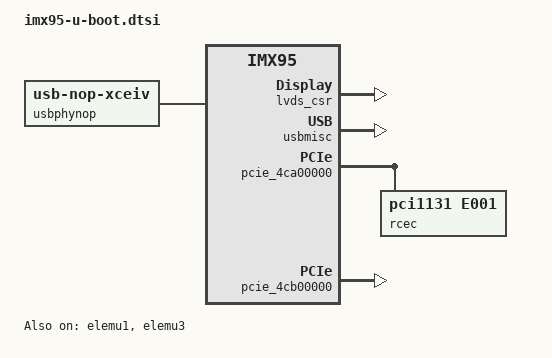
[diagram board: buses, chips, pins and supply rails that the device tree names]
// SPDX-License-Identifier: GPL-2.0+
/*
 * Copyright 2025 NXP
 */

 #include <dt-bindings/clock/nxp,imx95-clock.h>

#ifdef CONFIG_OPTEE
&{/firmware} {
	optee {
		compatible = "linaro,optee-tz";
		method = "smc";
	};
};
#endif

/ {
	binman {
		multiple-images;

		m33-oei-ddrfw {
			pad-byte = <0x00>;
			align-size = <0x8>;
			filename = "m33-oei-ddrfw.bin";

			oei-m33-ddr {
				align-size = <0x4>;
				filename = "oei-m33-ddr.bin";
				type = "blob-ext";
			};

			imx-lpddr {
				type = "nxp-header-ddrfw";

				imx-lpddr-imem {
					filename = "lpddr5_imem_v202311.bin";
					type = "blob-ext";
				};

				imx-lpddr-dmem {
					filename = "lpddr5_dmem_v202311.bin";
					type = "blob-ext";
				};
			};

			imx-lpddr-qb {
				type = "nxp-header-ddrfw";

				imx-lpddr-imem-qb {
					filename = "lpddr5_imem_qb_v202311.bin";
					type = "blob-ext";
				};

				imx-lpddr-dmem-qb {
					filename = "lpddr5_dmem_qb_v202311.bin";
					type = "blob-ext";
				};
			};
		};

		imx-boot {
			filename = "flash.bin";
			pad-byte = <0x00>;

			spl {
				align = <0x400>;
				align-size = <0x400>;
				type = "mkimage";
				args = "-n spl/u-boot-spl.cfgout -T imx8image";
			};

			u-boot {
				type = "mkimage";
				args = "-n u-boot-container.cfgout -T imx8image";
			};
		};
	};

	ldb_pll_pixel: ldb_pll_div7 {
		#clock-cells = <0>;
		compatible = "fixed-factor-clock";
		clocks = <&scmi_clk IMX95_CLK_LDBPLL>;
		clock-div = <7>;
		clock-mult = <1>;
		clock-output-names = "ldb_pll_div7";
	};
};

&aips1 {
	bootph-all;
};

&aips2 {
	bootph-all;
};

&aips3 {
	bootph-pre-ram;
};

&clk_ext1 {
	bootph-all;
};

&elemu1 {
	status = "okay";
	bootph-pre-ram;
};

&elemu3 {
	status = "okay";
	bootph-all;
};

&{/firmware} {
	bootph-all;
};

&{/firmware/scmi} {
	bootph-all;
};

&{/firmware/scmi/protocol@11} {
	bootph-all;
};

&{/firmware/scmi/protocol@13} {
	bootph-all;
};

&{/firmware/scmi/protocol@14} {
	bootph-all;
};

&{/firmware/scmi/protocol@15} {
	bootph-all;
};

&{/firmware/scmi/protocol@19} {
	bootph-all;
};

&gpio2 {
	reg = <0 0x43810000 0 0x1000>, <0 0x43810040 0 0x40>;
	bootph-pre-ram;
};

&gpio3 {
	reg = <0 0x43820000 0 0x1000>, <0 0x43820040 0 0x40>;
	bootph-pre-ram;
};

&gpio4 {
	reg = <0 0x43840000 0 0x1000>, <0 0x43840040 0 0x40>;
	bootph-pre-ram;
};

&gpio5 {
	reg = <0 0x43850000 0 0x1000>, <0 0x43850040 0 0x40>;
	bootph-pre-ram;
};

&mu2 {
	bootph-all;
};

&osc_24m {
	bootph-all;
};

&{/soc} {
	bootph-all;

	mipi_dsi: dsi@4acf0000 {
		compatible = "nxp,imx95-mipi-dsi";
		reg = <0x0 0x4acf0000 0x0 0x10000>;
		interrupt-parent = <&displaymix_irqsteer>;
		interrupts = <48>;
		clocks = <&scmi_clk IMX95_CLK_MIPIPHYCFG>,
			 <&scmi_clk IMX95_CLK_MIPIPHYPLLBYPASS>,
			 <&osc_24m>,
			 <&scmi_clk IMX95_CLK_CAMAPB>,
			 <&scmi_clk IMX95_CLK_DISP1PIX>;
		clock-names = "cfg", "bypass", "ref", "pclk", "pix";
		assigned-clocks = <&scmi_clk IMX95_CLK_MIPIPHYCFG>,
				  <&scmi_clk IMX95_CLK_MIPIPHYPLLBYPASS>;
		assigned-clock-parents = <&osc_24m>,
					 <&scmi_clk IMX95_CLK_VIDEOPLL1>;
		mux-controls = <&mux 0>;
		power-domains = <&scmi_devpd IMX95_PD_CAMERA>;
		nxp,disp-master-csr = <&display_master_csr>;
		nxp,disp-stream-csr = <&display_stream_csr>;
		nxp,mipi-combo-phy-csr = <&mipi_tx_phy_csr>;
		status = "disabled";

		ports {
			#address-cells = <1>;
			#size-cells = <0>;

			port@0 {
				#address-cells = <1>;
				#size-cells = <0>;
				reg = <0>;

				mipi_dsi_to_display_pixel_link0: endpoint@0 {
					reg = <0>;
					remote-endpoint = <&display_pixel_link0_to_mipi_dsi>;
				};

				mipi_dsi_to_display_pixel_link1: endpoint@1 {
					reg = <1>;
					remote-endpoint = <&display_pixel_link1_to_mipi_dsi>;
				};
			};

			port@1 {
				reg = <1>;
			};
		};
	};

	display_stream_csr: syscon@4ad00000 {
		compatible = "nxp,imx95-display-stream-csr", "syscon", "simple-mfd";
		reg = <0x0 0x4ad00000 0x0 0x10000>;
		clocks = <&scmi_clk IMX95_CLK_CAMAPB>;
	};

	display_master_csr: syscon@4ad10000 {
		compatible = "fsl,imx95-display-master-csr", "syscon";
		reg = <0x0 0x4ad10000 0x0 0x10000>;
		#clock-cells = <1>;
		clocks = <&scmi_clk IMX95_CLK_CAMAPB>;
		power-domains = <&scmi_devpd IMX95_PD_CAMERA>;

		mux: mux-controller {
			compatible = "mmio-mux";
			#mux-control-cells = <1>;
			mux-reg-masks = <0x4 0x00000001>; /* Pixel_link_sel */
		};
	};

	mipi_tx_phy_csr: syscon@4ad20100 {
		compatible = "fsl,imx95-mipi-tx-phy-csr", "syscon";
		reg = <0x0 0x4ad20100 0x0 0x14>;
		clocks = <&scmi_clk IMX95_CLK_CAMAPB>;
	};

	dispmix_csr: syscon@4b010000 {
		compatible = "fsl,imx95-dispmix-csr", "syscon";
		#address-cells = <1>;
		#size-cells = <1>;
		reg = <0x0 0x4b010000 0x0 0x10000>;
		#clock-cells = <1>;
		clocks = <&scmi_clk IMX95_CLK_DISPAPB>;
		power-domains = <&scmi_devpd IMX95_PD_DISPLAY>;
		assigned-clocks = <&scmi_clk IMX95_CLK_DISPAXI>,
				  <&scmi_clk IMX95_CLK_DISPOCRAM>,
				  <&scmi_clk IMX95_CLK_DISPAPB>;
		assigned-clock-parents = <&scmi_clk IMX95_CLK_SYSPLL1_PFD1>,
					 <&scmi_clk IMX95_CLK_SYSPLL1_PFD1>,
					 <&scmi_clk IMX95_CLK_SYSPLL1_PFD1_DIV2>;
		assigned-clock-rates = <400000000>, <400000000>, <133333333>;

		display_pixel_link: bridge@8 {
			compatible = "nxp,imx95-dc-pixel-link";
			reg = <0x8 0x4>;
			status = "disabled";

			ports {
				#address-cells = <1>;
				#size-cells = <0>;

				port@0 {
					reg = <0>;

					display_pixel_link0_to_pixel_interleaver_disp0: endpoint {
						remote-endpoint = <&pixel_interleaver_disp0_to_display_pixel_link0>;
					};
				};

				port@1 {
					reg = <1>;

					display_pixel_link1_to_pixel_interleaver_disp1: endpoint {
						remote-endpoint = <&pixel_interleaver_disp1_to_display_pixel_link1>;
					};
				};

				port@2 {
					#address-cells = <1>;
					#size-cells = <0>;
					reg = <2>;

					display_pixel_link0_to_mipi_dsi: endpoint@0 {
						reg = <0>;
						remote-endpoint = <&mipi_dsi_to_display_pixel_link0>;
					};

					display_pixel_link0_to_ldb_ch0: endpoint@1 {
						reg = <1>;
						remote-endpoint = <&ldb_ch0_to_display_pixel_link0>;
					};
				};

				port@3 {
					#address-cells = <1>;
					#size-cells = <0>;
					reg = <3>;

					display_pixel_link1_to_mipi_dsi: endpoint@0 {
						reg = <0>;
						remote-endpoint = <&mipi_dsi_to_display_pixel_link1>;
					};

					display_pixel_link1_to_ldb_ch1: endpoint@1 {
						reg = <1>;
						remote-endpoint = <&ldb_ch1_to_display_pixel_link1>;
					};
				};
			};
		};
	};

	displaymix_irqsteer: interrupt-controller@4b0b0000 {
		compatible = "fsl,imx-irqsteer";
		reg = <0x0 0x4b0b0000 0x0 0x1000>;
		interrupts = <GIC_SPI 214 IRQ_TYPE_LEVEL_HIGH>,
			     <GIC_SPI 215 IRQ_TYPE_LEVEL_HIGH>,
			     <GIC_SPI 216 IRQ_TYPE_LEVEL_HIGH>,
			     <GIC_SPI 217 IRQ_TYPE_LEVEL_HIGH>,
			     <GIC_SPI 218 IRQ_TYPE_LEVEL_HIGH>,
			     <GIC_SPI 303 IRQ_TYPE_LEVEL_HIGH>,	/* reserved */
			     <GIC_SPI 303 IRQ_TYPE_LEVEL_HIGH>,	/* reserved */
			     <GIC_SPI 219 IRQ_TYPE_LEVEL_HIGH>;
		power-domains = <&scmi_devpd IMX95_PD_DISPLAY>;
		clocks = <&scmi_clk IMX95_CLK_DISPAPB>;
		clock-names = "ipg";
		fsl,channel = <0>;
		fsl,num-irqs = <512>;
		interrupt-controller;
		#interrupt-cells = <1>;
		status = "disabled";
	};

	lvds_csr: syscon@4b0c0000 {
		compatible = "fsl,imx95-dispmix-lvds-csr", "syscon";
		#address-cells = <1>;
		#size-cells = <1>;
		reg = <0x0 0x4b0c0000 0x0 0x10000>;
		#clock-cells = <1>;
		clocks = <&scmi_clk IMX95_CLK_DISPAPB>;
		power-domains = <&scmi_devpd IMX95_PD_DISPLAY>;

		ldb: ldb@4 {
			compatible = "fsl,imx95-ldb";
			#address-cells = <1>;
			#size-cells = <0>;
			reg = <0x4 0x4>;
			clocks = <&lvds_csr IMX95_CLK_DISPMIX_PIX_DI0_GATE>,
				 <&lvds_csr IMX95_CLK_DISPMIX_PIX_DI1_GATE>,
				 <&lvds_csr IMX95_CLK_DISPMIX_LVDS_CH0_GATE>,
				 <&lvds_csr IMX95_CLK_DISPMIX_LVDS_CH1_GATE>;
			clock-names = "ldb_di0", "ldb_di1", "ldb_ch0", "ldb_ch1";
			status = "disabled";

			channel@0 {
				#address-cells = <1>;
				#size-cells = <0>;
				reg = <0>;
				phys = <&ldb0_phy1>;
				phy-names = "lvds_phy";
				status = "disabled";

				port@0 {
					reg = <0>;

					ldb_ch0_to_display_pixel_link0: endpoint {
						remote-endpoint = <&display_pixel_link0_to_ldb_ch0>;
					};
				};

				port@1 {
					reg = <1>;
				};
			};

			channel@1 {
				#address-cells = <1>;
				#size-cells = <0>;
				reg = <1>;
				phys = <&ldb1_phy1>;
				phy-names = "lvds_phy";
				status = "disabled";

				port@0 {
					reg = <0>;

					ldb_ch1_to_display_pixel_link1: endpoint {
						remote-endpoint = <&display_pixel_link1_to_ldb_ch1>;
					};
				};

				port@1 {
					reg = <1>;
				};
			};
		};

		ldb0_phy: phy@8 {
			compatible = "fsl,imx95-lvds0-phy";
			#address-cells = <1>;
			#size-cells = <0>;
			reg = <0x8 0x4>;
			gpr = <&lvds_csr>;
			clocks = <&scmi_clk IMX95_CLK_DISPAPB>;
			clock-names = "apb";
			power-domains = <&scmi_devpd IMX95_PD_DISPLAY>;
			status = "disabled";

			ldb0_phy1: port@0 {
				reg = <0>;
				#phy-cells = <0>;
			};
		};

		ldb1_phy: phy@c {
			compatible = "fsl,imx95-lvds1-phy";
			#address-cells = <1>;
			#size-cells = <0>;
			reg = <0xc 0x4>;
			gpr = <&lvds_csr>;
			clocks = <&scmi_clk IMX95_CLK_DISPAPB>;
			clock-names = "apb";
			power-domains = <&scmi_devpd IMX95_PD_DISPLAY>;
			status = "disabled";

			ldb1_phy1: port@0 {
				reg = <0>;
				#phy-cells = <0>;
			};
		};
	};

	pixel_interleaver: bridge@4b0d0000 {
		compatible = "nxp,imx95-pixel-interleaver";
		#address-cells = <1>;
		#size-cells = <0>;
		reg = <0x0 0x4b0d0000 0x0 0x20000>;
		interrupt-parent = <&displaymix_irqsteer>;
		interrupts = <62>;
		clocks = <&scmi_clk IMX95_CLK_DISPAPB>;
		nxp,blk-ctrl = <&dispmix_csr>;
		status = "disabled";

		channel@0 {
			#address-cells = <1>;
			#size-cells = <0>;
			reg = <0>;
			status = "disabled";

			port@0 {
				reg = <0>;

				pixel_interleaver_disp0_to_dpu_disp0: endpoint {
					remote-endpoint = <&dpu_disp0_to_pixel_interleaver_disp0>;
				};
			};

			port@1 {
				reg = <1>;

				pixel_interleaver_disp0_to_display_pixel_link0: endpoint {
					remote-endpoint = <&display_pixel_link0_to_pixel_interleaver_disp0>;
				};
			};
		};

		channel@1 {
			#address-cells = <1>;
			#size-cells = <0>;
			reg = <1>;
			status = "disabled";

			port@0 {
				reg = <0>;

				pixel_interleaver_disp1_to_dpu_disp1: endpoint {
					remote-endpoint = <&dpu_disp1_to_pixel_interleaver_disp1>;
				};
			};

			port@1 {
				reg = <1>;

				pixel_interleaver_disp1_to_display_pixel_link1: endpoint {
					remote-endpoint = <&display_pixel_link1_to_pixel_interleaver_disp1>;
				};
			};
		};
	};

	dpu: display-controller@4b400000 {
		compatible = "nxp,imx95-dpu";
		reg = <0x0 0x4b400000 0x0 0x400000>;
		interrupt-parent = <&displaymix_irqsteer>;
		interrupts = <448>, <449>, <450>,  <64>,
			      <65>,  <66>,  <67>,  <68>,
			      <69>, <192>, <193>, <194>,
			     <195>, <196>, <197>,  <70>,
			      <71>,  <72>,  <73>,  <74>,
			      <75>,  <76>,  <77>,  <78>,
			      <79>,  <80>,  <81>,  <82>,
			      <83>,  <84>,  <85>,  <86>,
			      <87>,  <88>,  <89>,  <90>,
			      <91>,  <92>, <198>, <199>,
			     <200>, <201>, <202>, <203>,
			     <204>, <205>, <206>, <207>,
			     <208>, <209>, <210>, <211>,
			     <212>, <451>,   <1>,   <2>,
			       <3>,   <4>,  <93>,  <94>,
			      <95>,  <96>,  <97>,  <98>,
			      <99>, <100>, <101>, <102>,
			     <103>, <104>, <105>, <106>,
			     <213>, <214>, <215>, <216>,
			     <217>, <218>, <219>, <220>,
			     <221>, <222>, <223>, <224>,
			     <225>, <226>;
		interrupt-names = "store9_shdload",
				  "store9_framecomplete",
				  "store9_seqcomplete",
				  "extdst0_shdload",
				  "extdst0_framecomplete",
				  "extdst0_seqcomplete",
				  "extdst4_shdload",
				  "extdst4_framecomplete",
				  "extdst4_seqcomplete",
				  "extdst1_shdload",
				  "extdst1_framecomplete",
				  "extdst1_seqcomplete",
				  "extdst5_shdload",
				  "extdst5_framecomplete",
				  "extdst5_seqcomplete",
				  "domainblend0_shdload",
				  "domainblend0_framecomplete",
				  "domainblend0_seqcomplete",
				  "disengcfg_shdload0",
				  "disengcfg_framecomplete0",
				  "disengcfg_seqcomplete0",
				  "framegen0_int0",
				  "framegen0_int1",
				  "framegen0_int2",
				  "framegen0_int3",
				  "sig0_shdload",
				  "sig0_valid",
				  "sig0_error",
				  "sig0_cluster_error",
				  "sig0_cluster_match",
				  "sig2_shdload",
				  "sig2_valid",
				  "sig2_error",
				  "sig2_cluster_error",
				  "sig2_cluster_match",
				  "idhash0_shdload",
				  "idhash0_valid",
				  "idhash0_window_error",
				  "domainblend1_shdload",
				  "domainblend1_framecomplete",
				  "domainblend1_seqcomplete",
				  "disengcfg_shdload1",
				  "disengcfg_framecomplete1",
				  "disengcfg_seqcomplete1",
				  "framegen1_int0",
				  "framegen1_int1",
				  "framegen1_int2",
				  "framegen1_int3",
				  "sig1_shdload",
				  "sig1_valid",
				  "sig1_error",
				  "sig1_cluster_error",
				  "sig1_cluster_match",
				  "cmdseq_error",
				  "comctrl_sw0",
				  "comctrl_sw1",
				  "comctrl_sw2",
				  "comctrl_sw3",
				  "framegen0_primsync_on",
				  "framegen0_primsync_off",
				  "framegen0_overflow0_on",
				  "framegen0_overflow0_off",
				  "framegen0_underrun0_on",
				  "framegen0_underrun0_off",
				  "framegen0_threshold0_rise",
				  "framegen0_threshold0_fail",
				  "framegen0_overflow1_on",
				  "framegen0_overflow1_off",
				  "framegen0_underrun1_on",
				  "framegen0_underrun1_off",
				  "framegen0_threshold1_rise",
				  "framegen0_threshold1_fail",
				  "framegen1_primsync_on",
				  "framegen1_primsync_off",
				  "framegen1_overflow0_on",
				  "framegen1_overflow0_off",
				  "framegen1_underrun0_on",
				  "framegen1_underrun0_off",
				  "framegen1_threshold0_rise",
				  "framegen1_threshold0_fail",
				  "framegen1_overflow1_on",
				  "framegen1_overflow1_off",
				  "framegen1_underrun1_on",
				  "framegen1_underrun1_off",
				  "framegen1_threshold1_rise",
				  "framegen1_threshold1_fail";
		clocks = <&scmi_clk IMX95_CLK_DISP1PIX>,
			 <&scmi_clk IMX95_CLK_DISPAPB>,
			 <&scmi_clk IMX95_CLK_DISPAXI>,
			 <&scmi_clk IMX95_CLK_DISPOCRAM>,
			 <&ldb_pll_pixel>,
			 <&scmi_clk IMX95_CLK_LDBPLL_VCO>;
		clock-names = "pix", "apb", "axi", "ocram", "ldb", "ldb_vco";
		power-domains = <&scmi_devpd IMX95_PD_DISPLAY>;
		nxp,blk-ctrl = <&dispmix_csr>;
		status = "disabled";

		ports {
			#address-cells = <1>;
			#size-cells = <0>;

			port@0 {
				reg = <0>;

				dpu_disp0_to_pixel_interleaver_disp0: endpoint {
					remote-endpoint = <&pixel_interleaver_disp0_to_dpu_disp0>;
				};
			};

			port@1 {
				reg = <1>;

				dpu_disp1_to_pixel_interleaver_disp1: endpoint {
					remote-endpoint = <&pixel_interleaver_disp1_to_dpu_disp1>;
				};
			};
		};
	};

	usb3_phy: phy@4c1f0040 {
		compatible = "fsl,imx8mp-usb-phy";
		reg = <0x0 0x4c1f0040 0x0 0x40>;
		clocks = <&scmi_clk IMX95_CLK_HSIO>;
		clock-names = "phy";
		#phy-cells = <0>;
		status = "disabled";
	};

	usb3: usb@4c010010 {
		compatible = "fsl,imx95-dwc3", "fsl,imx8mp-dwc3";
		reg = <0x0 0x4c010010 0x0 0x04>,
		      <0x0 0x4c1f0000 0x0 0x20>;
		clocks = <&scmi_clk IMX95_CLK_HSIO>,
			 <&scmi_clk IMX95_CLK_32K>;
		clock-names = "hsio", "suspend";
		interrupts = <GIC_SPI 173 IRQ_TYPE_LEVEL_HIGH>;
		#address-cells = <2>;
		#size-cells = <2>;
		ranges;
		power-domains = <&scmi_devpd IMX95_PD_HSIO_TOP>;
		status = "disabled";

		usb3_dwc3: usb@4c100000 {
			compatible = "snps,dwc3";
			reg = <0x0 0x4c100000 0x0 0x10000>;
			clocks = <&scmi_clk IMX95_CLK_HSIO>,
				 <&scmi_clk IMX95_CLK_24M>,
				 <&scmi_clk IMX95_CLK_32K>;
			clock-names = "bus_early", "ref", "suspend";
			interrupts = <GIC_SPI 175 IRQ_TYPE_LEVEL_HIGH>;
			phys = <&usb3_phy>, <&usb3_phy>;
			phy-names = "usb2-phy", "usb3-phy";
			snps,gfladj-refclk-lpm-sel-quirk;
			snps,parkmode-disable-ss-quirk;
		};
	};

	usb2: usb@4c200000 {
		compatible = "fsl,imx95-usb";
		reg = <0x0 0x4c200000 0x0 0x200>, <0x0 0x4c010000 0x0 0x30>;
		interrupts = <GIC_SPI 176 IRQ_TYPE_LEVEL_HIGH>,
			     <GIC_SPI 174 IRQ_TYPE_LEVEL_HIGH>;
		clocks = <&scmi_clk IMX95_CLK_HSIO>;
		clock-names = "usb1_ctrl_root_clk";
		power-domains = <&scmi_devpd IMX95_PD_HSIO_TOP>;
		phys = <&usbphynop>;
		fsl,usbmisc = <&usbmisc 0>;
		status = "disabled";
	};

	usbphynop: usbphynop {
		compatible = "usb-nop-xceiv";
		#phy-cells = <0>;
		clocks = <&scmi_clk IMX95_CLK_USBPHYBURUNIN>;
		clock-names = "main_clk";
	};

	usbmisc: usbmisc@4c200200 {
		compatible = "fsl,imx95-usbmisc";
		#index-cells = <1>;
		reg = <0x0 0x4c200200 0x0 0x200>;
	};

	netc_blk_ctrl: netc-blk-ctrl@4cde0000 {
		compatible = "nxp,imx95-netc-blk-ctrl";
		reg = <0x0 0x4cde0000 0x0 0x10000>,
		      <0x0 0x4cdf0000 0x0 0x10000>,
		      <0x0 0x4c81000c 0x0 0x18>;
		reg-names = "ierb", "prb", "netcmix";
		#address-cells = <2>;
		#size-cells = <2>;
		ranges;
		power-domains = <&scmi_devpd IMX95_PD_NETC>;
		assigned-clocks = <&scmi_clk IMX95_CLK_ENETREF>;
		assigned-clock-parents = <&scmi_clk IMX95_CLK_SYSPLL1_PFD0>;
		assigned-clock-rates = <250000000>;
		clocks = <&scmi_clk IMX95_CLK_ENET>;
		clock-names = "ipg_clk";

		pcie_4ca00000: pcie@4ca00000 {
			compatible = "pci-host-ecam-generic";
			reg = <0x0 0x4ca00000 0x0 0x100000>;
			/* Must be 3. */
			#address-cells = <3>;
			/* Must be 2. */
			#size-cells = <2>;
			device_type = "pci";
			bus-range = <0x0 0x0>;
				 /* ENETC0~2 and Timer BAR0 - non-prefetchable memory */
			ranges = <0x82000000 0x0 0x4cc00000  0x0 0x4cc00000  0x0 0xe0000
				 /* Timer BAR2 - prefetchable memory */
				 0xc2000000 0x0 0x4cd00000  0x0 0x4cd00000  0x0 0x10000
				 /* ENETC0~2: VF0-1 BAR0 - non-prefetchable memory */
				 0x82000000 0x0 0x4cd20000  0x0 0x4cd20000  0x0 0x60000
				 /* ENETC0~2: VF0-1 BAR2 - prefetchable memory */
				 0xc2000000 0x0 0x4cd80000  0x0 0x4cd80000  0x0 0x60000>;

			enetc_port0: ethernet@0,0 {
				compatible = "fsl,imx95-enetc";
				reg = <0x000000 0 0 0 0>;
				clocks = <&scmi_clk IMX95_CLK_ENETREF>;
				clock-names = "ref";
				status = "disabled";
			};

			enetc_port1: ethernet@8,0 {
				compatible = "fsl,imx95-enetc";
				reg = <0x004000 0 0 0 0>;
				clocks = <&scmi_clk IMX95_CLK_ENETREF>;
				clock-names = "ref";
				status = "disabled";
			};

			enetc_port2: ethernet@10,0 {
				compatible = "fsl,imx95-enetc";
				reg = <0x008000 0 0 0 0>;
				status = "disabled";
			};

			netc_timer: ethernet@18,0 {
				compatible = "fsl,imx95-netc-timer";
				reg = <0x00c000 0 0 0 0>;
				status = "disabled";
			};

			rcec@1,0 {
				compatible = "pci1131,e001";
				reg = <0x000800 0 0 0 0>;
				interrupts = <GIC_SPI 304 IRQ_TYPE_LEVEL_HIGH>;
			};
		};

		pcie_4cb00000: pcie@4cb00000 {
			compatible = "pci-host-ecam-generic";
			reg = <0x0 0x4cb00000 0x0 0x100000>;
			#address-cells = <3>;
			#size-cells = <2>;
			device_type = "pci";
			bus-range = <0x1 0x1>;
				 /* EMDIO BAR0 - non-prefetchable memory */
			ranges = <0x82000000 0x0 0x4cce0000  0x0 0x4cce0000  0x0 0x20000
				 /* EMDIO BAR2 - prefetchable memory */
				 0xc2000000 0x0 0x4cd10000  0x0 0x4cd10000  0x0 0x10000>;
			power-domains = <&scmi_devpd IMX95_PD_NETC>;

			netc_emdio: mdio@0,0 {
				compatible = "fsl,enetc4-mdio";
				reg = <0x010000 0 0 0 0>;
				#address-cells = <1>;
				#size-cells = <0>;
				status = "disabled";
			};
		};
	};
};

&sram0 {
	bootph-all;
};

&scmi_buf0 {
	reg = <0x0 0x400>;
	bootph-all;
};

&scmi_buf1 {
	bootph-all;
};


